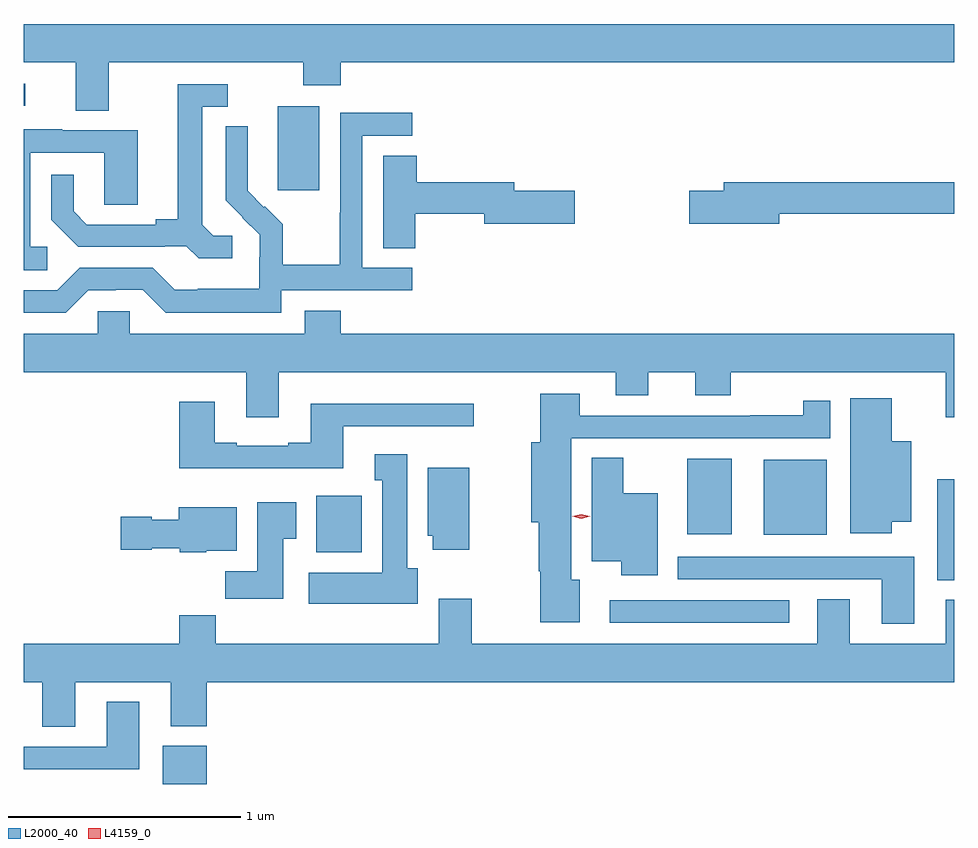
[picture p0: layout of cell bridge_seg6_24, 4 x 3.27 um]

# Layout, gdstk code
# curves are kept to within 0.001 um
import gdstk
lib = gdstk.Library(unit=1e-6, precision=1e-09)
def R(c, l, rs):  # rectangles x0, y0, x1, y1
    for r in rs: c.add(gdstk.rectangle(r[:2], r[2:], *l))
def P(c, l, *ps):  # polygons
    for p in ps: c.add(gdstk.Polygon(p, *l))
L2000_40 = (2000, 40)
L4159_0 = (4159, 0)

bridge_seg6_24 = lib.new_cell('bridge_seg6_24')
R(bridge_seg6_24, L2000_40, [(985.139,968.21,985.33,968.374), (987.06,968.904,987.832,969), (988.469,969.086,988.542,969.52), (985.799,969.206,985.996,969.448), (987.722,969.281,987.994,969.604), (987.395,969.284,987.586,969.607), (985.634,970.761,985.813,971.122), (984.542,971.124,984.55,971.22)])
P(bridge_seg6_24, L2000_40, [(984.907,971.312),(985.744,971.312),(985.744,971.213),(985.904,971.213),(985.904,971.312),(988.542,971.312),(988.542,971.476),(984.542,971.476),(984.542,971.312),(984.767,971.312),(984.767,971.104),(984.907,971.104)],
  [(985.438,970.566),(985.356,970.566),(985.309,970.613),(985.309,971.121),(985.42,971.121),(985.42,971.217),(985.205,971.217),(985.205,970.637),(985.109,970.637),(985.109,970.614),(984.814,970.614),(984.757,970.671),(984.757,970.828),(984.66,970.828),(984.66,970.634),(984.776,970.518),(985.148,970.518),(985.148,970.521),(985.242,970.521),(985.294,970.469),(985.438,970.469)],
  [(985.65,970.332),(986.212,970.332),(986.212,970.428),(985.998,970.428),(985.998,970.995),(986.212,970.995),(986.212,971.094),(985.902,971.094),(985.902,970.664),(985.9,970.664),(985.9,970.441),(985.655,970.441),(985.655,970.615),(985.578,970.692),(985.575,970.689),(985.505,970.76),(985.506,971.036),(985.41,971.036),(985.41,970.718),(985.556,970.57),(985.556,970.473),(985.554,970.473),(985.554,970.339),(985.291,970.339),(985.291,970.335),(985.191,970.335),(985.098,970.428),(984.783,970.428),(984.687,970.332),(984.542,970.332),(984.542,970.236),(984.723,970.236),(984.819,970.332),(984.938,970.332),(984.938,970.335),(985.053,970.335),(985.153,970.235),(985.65,970.235)],
  [(984.643,970.518),(984.57,970.518),(984.57,970.923),(984.888,970.923),(984.888,970.699),(985.033,970.699),(985.033,971.019),(984.709,971.019),(984.709,971.023),(984.542,971.023),(984.542,970.417),(984.643,970.417)],
  [(986.226,970.66),(986.522,970.66),(986.522,970.618),(986.911,970.618),(986.911,970.76),(986.65,970.76),(986.65,970.796),(986.231,970.796),(986.231,970.91),(986.087,970.91),(986.087,970.513),(986.226,970.513)],
  [(987.79,970.66),(988.542,970.66),(988.542,970.796),(987.551,970.796),(987.551,970.76),(987.402,970.76),(987.402,970.618),(987.79,970.618)],
  [(984.861,970.242),(984.861,970.144),(984.542,970.144),(984.542,969.98),(985.499,969.98),(985.499,969.786),(985.639,969.786),(985.639,969.98),(987.086,969.98),(987.086,969.881),(987.226,969.881),(987.226,969.98),(987.428,969.98),(987.428,969.881),(987.581,969.881),(987.581,969.98),(988.505,969.98),(988.505,969.786),(988.542,969.786),(988.542,970.144),(985.904,970.144),(985.904,970.243),(985.751,970.243),(985.751,970.144),(984.999,970.144),(984.999,970.242)],
  [(986.932,969.088),(986.896,969.088),(986.896,969.696),(988.009,969.696),(988.009,969.856),(987.892,969.856),(987.892,969.794),(987.664,969.794),(987.664,969.792),(986.932,969.792),(986.932,969.886),(986.762,969.886),(986.762,969.679),(986.723,969.679),(986.723,969.335),(986.755,969.335),(986.755,969.125),(986.762,969.125),(986.762,968.906),(986.932,968.906)],
  [(988.273,969.338),(988.357,969.338),(988.357,969.682),(988.273,969.682),(988.273,969.868),(988.094,969.868),(988.094,969.287),(988.273,969.287)],
  [(985.915,969.747),(986.476,969.747),(986.476,969.844),(985.775,969.844),(985.775,969.676),(985.679,969.676),(985.679,969.663),(985.459,969.663),(985.459,969.676),(985.363,969.676),(985.363,969.853),(985.211,969.853),(985.211,969.566),(985.915,969.566)],
  [(986.236,969.138),(986.191,969.138),(986.191,969.628),(986.051,969.628),(986.051,969.515),(986.084,969.515),(986.084,969.118),(985.767,969.118),(985.767,968.984),(986.236,968.984)],
  [(987.268,969.46),(987.118,969.46),(987.118,969.611),(986.984,969.611),(986.984,969.167),(987.11,969.167),(987.11,969.108),(987.268,969.108)],
  [(986.458,969.568),(986.279,969.568),(986.279,969.276),(986.3,969.276),(986.3,969.216),(986.458,969.216)],
  [(985.657,969.265),(985.714,969.265),(985.714,969.421),(985.547,969.421),(985.547,969.124),(985.408,969.124),(985.408,969.006),(985.657,969.006)],
  [(985.326,969.212),(985.459,969.212),(985.459,969.4),(985.208,969.4),(985.208,969.346),(985.092,969.346),(985.092,969.359),(984.96,969.359),(984.96,969.217),(985.092,969.217),(985.092,969.224),(985.212,969.224),(985.212,969.206),(985.326,969.206)],
  [(988.369,969.186),(987.354,969.186),(987.354,969.09),(988.229,969.09),(988.229,968.898),(988.369,968.898)],
  [(984.763,968.648),(985.175,968.648),(985.175,968.459),(985.328,968.459),(985.328,968.648),(988.542,968.648),(988.542,969.001),(988.505,969.001),(988.505,968.812),(988.093,968.812),(988.093,969.005),(987.953,969.005),(987.953,968.812),(986.467,968.812),(986.467,969.007),(986.327,969.007),(986.327,968.812),(985.367,968.812),(985.367,968.936),(985.211,968.936),(985.211,968.812),(984.542,968.812),(984.542,968.648),(984.623,968.648),(984.623,968.455),(984.763,968.455)],
  [(985.039,968.563),(984.899,968.563),(984.899,968.37),(984.542,968.37),(984.542,968.274),(985.039,968.274)])
P(bridge_seg6_24, L4159_0, [(986.939,969.35),(986.9,969.36),(986.9,969.36),(986.9,969.36),(986.939,969.37),(986.978,969.361),(986.978,969.36),(986.978,969.36)])

lib.write_gds('bridge_seg6_24.gds')
